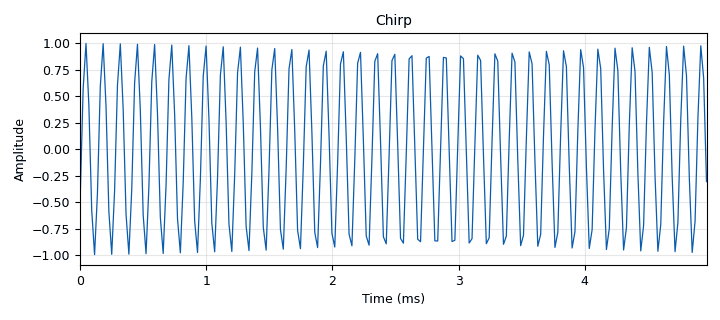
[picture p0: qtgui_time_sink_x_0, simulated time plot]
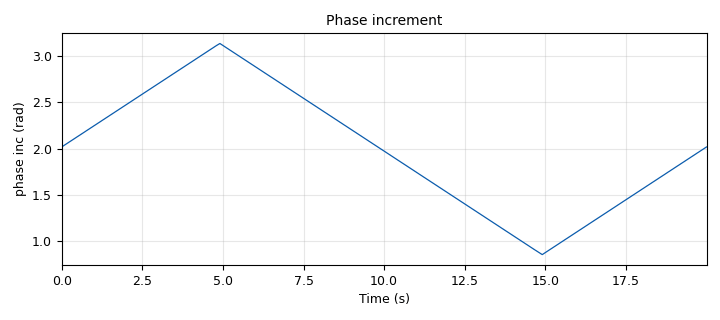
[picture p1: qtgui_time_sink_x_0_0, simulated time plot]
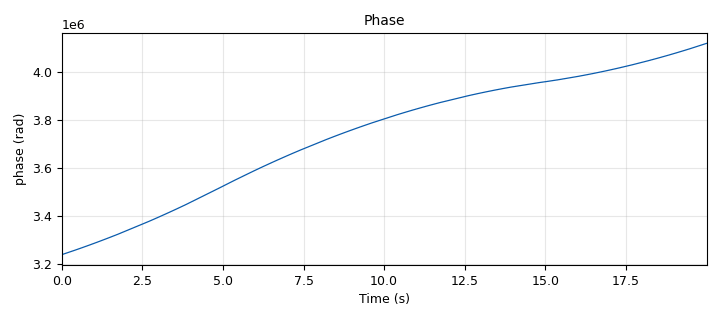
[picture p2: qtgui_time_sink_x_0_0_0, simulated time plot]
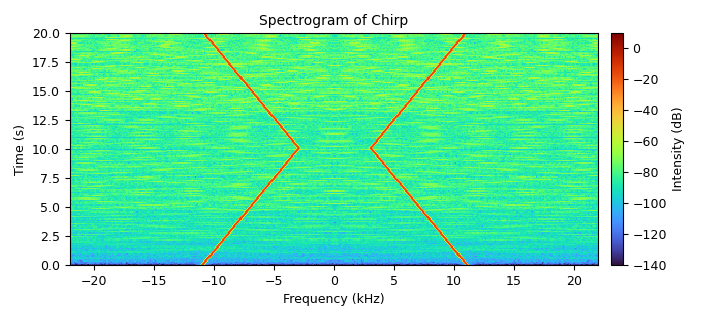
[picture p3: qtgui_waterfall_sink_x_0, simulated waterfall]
options:
  parameters:
    generate_options: qt_gui
    id: tds_generate_chirp
    output_language: python
    title: TDS Chirp Generation Example
  states: {}

blocks:
- name: Tc_sec
  id: variable_qtgui_range
  parameters:
    gui_hint: (0, 4, 1, 2)
    label: Tc (sec)
    orient: Qt.Horizontal
    start: '1.0'
    step: '1.0'
    stop: '10.0'
    value: '10.0'
  states: {}
- name: chirp_phase_step_rad
  id: variable
  parameters:
    value: chirp_configuration.calc_chirp_phase_step(f_start_Hz, f_stop_Hz, Tc_sec,float(samp_rate))
  states: {}
- name: f_max
  id: variable
  parameters:
    value: 20e3
  states: {}
- name: f_min
  id: variable
  parameters:
    value: 3e3
  states: {}
- name: f_start_Hz
  id: variable_qtgui_range
  parameters:
    gui_hint: '[0, 0, 1, 2]'
    label: Start frequency (Hz)
    orient: Qt.Horizontal
    start: f_min
    step: '10'
    stop: f_max
    value: f_min
  states: {}
- name: f_stop_Hz
  id: variable_qtgui_range
  parameters:
    gui_hint: '[0, 2, 1, 2]'
    label: Stop frequency (Hz)
    orient: Qt.Horizontal
    start: f_min
    step: '10'
    stop: f_max
    value: 11e3
  states: {}
- name: max_volume
  id: variable
  parameters:
    value: '0.2'
  states: {}
- name: negate_phase
  id: variable_qtgui_check_box
  parameters:
    'false': '1'
    gui_hint: (0, 6, 1, 1)
    label: Negate Phase
    'true': '-1'
    type: int
    value: '1'
  states: {}
- name: play_sound
  id: variable_qtgui_check_box
  parameters:
    'false': '0'
    gui_hint: (0, 7, 1, 1)
    label: Play sound
    'true': max_volume
    type: real
    value: max_volume
  states: {}
- name: samp_rate
  id: variable
  parameters:
    value: '44100'
  states: {}
- name: analog_sig_source_x_0
  id: analog_sig_source_x
  parameters:
    amp: (chirp_phase_step_rad[-1] - chirp_phase_step_rad[0])*2*negate_phase
    comment: |-
      Phase increment
      (in radians)
    freq: 1/Tc_sec*0.5
    offset: chirp_phase_step_rad[0]*2*negate_phase
    phase: '0'
    samp_rate: samp_rate
    type: float
    waveform: analog.GR_TRI_WAVE
  states: {}
- name: audio_sink_0
  id: audio_sink
  parameters:
    samp_rate: samp_rate
  states: {}
- name: blocks_multiply_const_vxx_0_0
  id: blocks_multiply_const_vxx
  parameters:
    comment: Turn the audio on or off
    const: play_sound
    type: float
  states: {}
- name: blocks_transcendental_0
  id: blocks_transcendental
  parameters:
    comment: Map phase to chirp waveform transform
    name: sin
    type: float
  states: {}
- name: chirp_configuration
  id: epy_module
  parameters:
    source_code: |
      # this module will be imported in the into your flowgraph
      import numpy as np
      import math

      def calc_chirp_phase_step(f_start_Hz, f_stop_Hz, Tc_sec,fs):
          ts=1/fs
          total_samples= math.ceil(fs*Tc_sec)
          n = np.arange(0,total_samples, step=(total_samples-1), dtype=np.float64)
          t_sec=n*ts

          #This is the frequency of the chirp over time. We assume linear change in frequency
          chirp_freq_slope_HzPerSec=(f_stop_Hz-f_start_Hz)/Tc_sec

          #Compute the instantaneous frequency which is a linear function
          chirp_instantaneous_freq_Hz=chirp_freq_slope_HzPerSec*t_sec+f_start_Hz
          chirp_instantaneous_angular_freq_radPerSec=2*np.pi*chirp_instantaneous_freq_Hz

          #Since frequency is a change in phase the we can plot it as a phase step
          chirp_phase_step_rad=chirp_instantaneous_angular_freq_radPerSec*ts
          return chirp_phase_step_rad
  states: {}
- name: iir_filter_xxx_0
  id: iir_filter_xxx
  parameters:
    comment: |-
      Cumulative sum of phase increments
      (total phase in radians)
    fbtaps: '[1, -1]'
    fftaps: '[0.5, 0]'
    oldstyle: 'False'
    type: ffd
  states: {}
- name: qtgui_time_sink_x_0
  id: qtgui_time_sink_x
  parameters:
    autoscale: 'True'
    gui_hint: '[3,4,1,4]'
    label1: ''
    legend: 'False'
    name: Chirp
    size: int(samp_rate*0.005)
    srate: samp_rate
    type: float
  states: {}
- name: qtgui_time_sink_x_0_0
  id: qtgui_time_sink_x
  parameters:
    autoscale: 'True'
    gui_hint: '[3,0,1,2]'
    label1: ''
    legend: 'False'
    name: Phase increment
    size: int(samp_rate*Tc_sec*2)
    srate: samp_rate
    type: float
    ylabel: phase inc (rad)
  states: {}
- name: qtgui_time_sink_x_0_0_0
  id: qtgui_time_sink_x
  parameters:
    autoscale: 'True'
    entags: 'False'
    gui_hint: '[3,2,1,2]'
    label1: ''
    legend: 'False'
    name: Phase
    size: int(samp_rate*Tc_sec*2)
    srate: samp_rate
    type: float
    ylabel: phase (rad)
  states: {}
- name: qtgui_waterfall_sink_x_0
  id: qtgui_waterfall_sink_x
  parameters:
    bw: samp_rate
    fc: '0'
    fftsize: '1024'
    gui_hint: '[1,0,2,8]'
    name: Spectrogram of Chirp
    showports: 'True'
    type: float
    wintype: firdes.WIN_BLACKMAN_hARRIS
  states: {}

connections:
- [analog_sig_source_x_0, '0', iir_filter_xxx_0, '0']
- [analog_sig_source_x_0, '0', qtgui_time_sink_x_0_0, '0']
- [blocks_multiply_const_vxx_0_0, '0', audio_sink_0, '0']
- [blocks_transcendental_0, '0', blocks_multiply_const_vxx_0_0, '0']
- [blocks_transcendental_0, '0', qtgui_time_sink_x_0, '0']
- [blocks_transcendental_0, '0', qtgui_waterfall_sink_x_0, '0']
- [iir_filter_xxx_0, '0', blocks_transcendental_0, '0']
- [iir_filter_xxx_0, '0', qtgui_time_sink_x_0_0_0, '0']

metadata:
  file_format: 1
